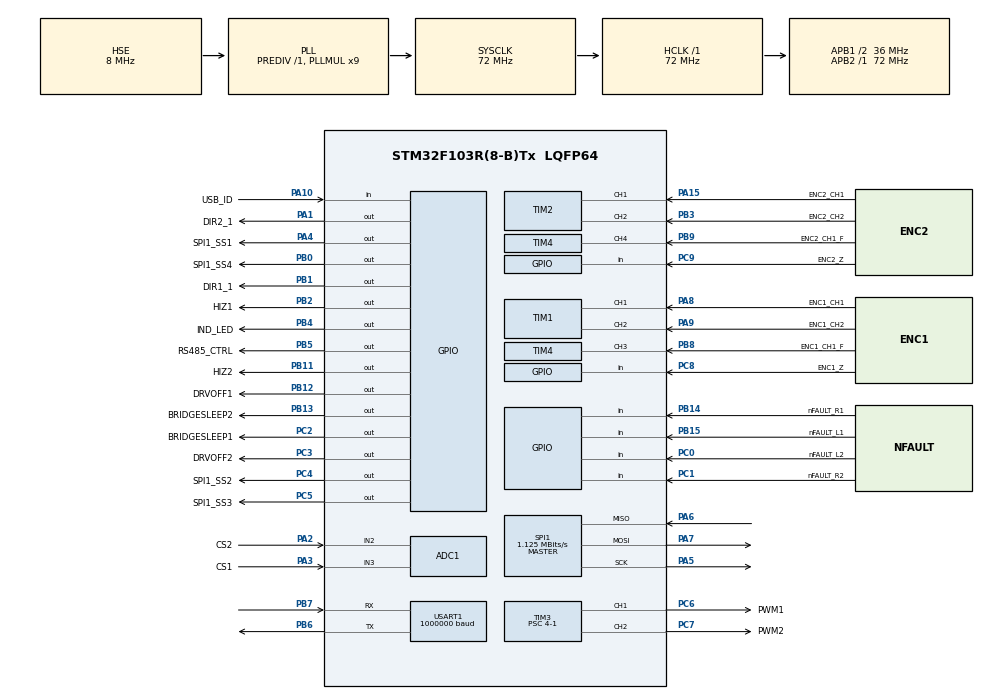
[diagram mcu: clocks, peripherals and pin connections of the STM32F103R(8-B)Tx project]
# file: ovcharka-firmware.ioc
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ADC1.Channel-0\#ChannelRegularConversion=ADC_CHANNEL_3
ADC1.Channel-1\#ChannelRegularConversion=ADC_CHANNEL_2
ADC1.ExternalTrigConv=ADC_EXTERNALTRIGCONV_T3_TRGO
ADC1.NbrOfConversion=2
ADC1.NbrOfConversionFlag=1
ADC1.Rank-0\#ChannelRegularConversion=1
ADC1.Rank-1\#ChannelRegularConversion=2
ADC1.SamplingTime-0\#ChannelRegularConversion=ADC_SAMPLETIME_239CYCLES_5
ADC1.SamplingTime-1\#ChannelRegularConversion=ADC_SAMPLETIME_239CYCLES_5
ADC1.master=1
Dma.ADC1.4.Direction=DMA_PERIPH_TO_MEMORY
Dma.ADC1.4.Instance=DMA1_Channel1
Dma.ADC1.4.MemDataAlignment=DMA_MDATAALIGN_HALFWORD
Dma.ADC1.4.MemInc=DMA_MINC_ENABLE
Dma.ADC1.4.Mode=DMA_CIRCULAR
Dma.ADC1.4.PeriphDataAlignment=DMA_PDATAALIGN_HALFWORD
Dma.ADC1.4.PeriphInc=DMA_PINC_DISABLE
Dma.ADC1.4.Priority=DMA_PRIORITY_MEDIUM
Dma.Request0=SPI1_RX
Dma.Request1=SPI1_TX
Dma.Request2=USART1_TX
Dma.Request3=USART1_RX
Dma.Request4=ADC1
Dma.SPI1_RX.0.Direction=DMA_PERIPH_TO_MEMORY
Dma.SPI1_RX.0.Instance=DMA1_Channel2
Dma.SPI1_RX.0.MemDataAlignment=DMA_MDATAALIGN_HALFWORD
Dma.SPI1_RX.0.MemInc=DMA_MINC_ENABLE
Dma.SPI1_RX.0.Mode=DMA_NORMAL
Dma.SPI1_RX.0.PeriphDataAlignment=DMA_PDATAALIGN_HALFWORD
Dma.SPI1_RX.0.PeriphInc=DMA_PINC_DISABLE
Dma.SPI1_RX.0.Priority=DMA_PRIORITY_MEDIUM
Dma.SPI1_TX.1.Direction=DMA_MEMORY_TO_PERIPH
Dma.SPI1_TX.1.Instance=DMA1_Channel3
Dma.SPI1_TX.1.MemDataAlignment=DMA_MDATAALIGN_HALFWORD
Dma.SPI1_TX.1.MemInc=DMA_MINC_ENABLE
Dma.SPI1_TX.1.Mode=DMA_NORMAL
Dma.SPI1_TX.1.PeriphDataAlignment=DMA_PDATAALIGN_HALFWORD
Dma.SPI1_TX.1.PeriphInc=DMA_PINC_DISABLE
Dma.SPI1_TX.1.Priority=DMA_PRIORITY_MEDIUM
Dma.USART1_RX.3.Direction=DMA_PERIPH_TO_MEMORY
Dma.USART1_RX.3.Instance=DMA1_Channel5
Dma.USART1_RX.3.MemDataAlignment=DMA_MDATAALIGN_BYTE
Dma.USART1_RX.3.MemInc=DMA_MINC_ENABLE
Dma.USART1_RX.3.Mode=DMA_NORMAL
Dma.USART1_RX.3.PeriphDataAlignment=DMA_PDATAALIGN_BYTE
Dma.USART1_RX.3.PeriphInc=DMA_PINC_DISABLE
Dma.USART1_RX.3.Priority=DMA_PRIORITY_HIGH
Dma.USART1_TX.2.Direction=DMA_MEMORY_TO_PERIPH
Dma.USART1_TX.2.Instance=DMA1_Channel4
Dma.USART1_TX.2.MemDataAlignment=DMA_MDATAALIGN_BYTE
Dma.USART1_TX.2.MemInc=DMA_MINC_ENABLE
Dma.USART1_TX.2.Mode=DMA_NORMAL
Dma.USART1_TX.2.PeriphDataAlignment=DMA_PDATAALIGN_BYTE
Dma.USART1_TX.2.PeriphInc=DMA_PINC_DISABLE
Dma.USART1_TX.2.Priority=DMA_PRIORITY_HIGH
Mcu.Family=STM32F1
Mcu.Name=STM32F103R(8-B)Tx
Mcu.Package=LQFP64
NVIC.DMA1_Channel1_IRQn=true\:0\:0\:false\:false\:true\:false\:true\:true
NVIC.DMA1_Channel2_IRQn=true\:0\:0\:false\:false\:true\:false\:true\:true
NVIC.DMA1_Channel3_IRQn=true\:0\:0\:false\:false\:true\:false\:true\:true
NVIC.DMA1_Channel4_IRQn=true\:0\:0\:false\:false\:true\:false\:true\:true
NVIC.DMA1_Channel5_IRQn=true\:0\:0\:false\:false\:true\:false\:true\:true
NVIC.PriorityGroup=NVIC_PRIORITYGROUP_4
NVIC.SPI1_IRQn=true\:3\:0\:true\:false\:true\:true\:true\:true
NVIC.TIM3_IRQn=true\:1\:0\:true\:false\:true\:true\:true\:true
NVIC.USART1_IRQn=true\:2\:0\:true\:false\:true\:true\:true\:true
PA1.GPIO_Label=DIR2_1
PA1.Signal=GPIO_Output
PA10.GPIO_Label=USB_ID
PA10.Signal=GPIO_Input
PA13.Mode=Serial_Wire
PA13.Signal=SYS_JTMS-SWDIO
PA14.Mode=Serial_Wire
PA14.Signal=SYS_JTCK-SWCLK
PA15.GPIO_Label=ENC2_CH1
PA15.Signal=S_TIM2_CH1_ETR
PA2.GPIO_Label=CS2
PA2.Signal=ADCx_IN2
PA3.GPIO_Label=CS1
PA3.Signal=ADCx_IN3
PA4.GPIO_Label=SPI1_SS1
PA4.GPIO_Speed=GPIO_SPEED_FREQ_HIGH
PA4.PinState=GPIO_PIN_RESET
PA4.Signal=GPIO_Output
PA5.Mode=Full_Duplex_Master
PA5.Signal=SPI1_SCK
PA6.Mode=Full_Duplex_Master
PA6.Signal=SPI1_MISO
PA7.Mode=Full_Duplex_Master
PA7.Signal=SPI1_MOSI
PA8.GPIO_Label=ENC1_CH1
PA8.Signal=S_TIM1_CH1
PA9.GPIO_Label=ENC1_CH2
PA9.Signal=S_TIM1_CH2
PB0.GPIO_Label=SPI1_SS4
PB0.GPIO_Speed=GPIO_SPEED_FREQ_HIGH
PB0.PinState=GPIO_PIN_RESET
PB0.Signal=GPIO_Output
PB1.GPIO_Label=DIR1_1
PB1.Signal=GPIO_Output
PB11.GPIO_Label=HIZ2
PB11.Signal=GPIO_Output
PB12.GPIO_Label=DRVOFF1
PB12.Signal=GPIO_Output
PB13.GPIO_Label=BRIDGESLEEP2
PB13.Signal=GPIO_Output
PB14.GPIO_Label=nFAULT_R1
PB14.Signal=GPIO_Input
PB15.GPIO_Label=nFAULT_L1
PB15.Signal=GPIO_Input
PB2.GPIO_Label=HIZ1
PB2.Signal=GPIO_Output
PB3.GPIO_Label=ENC2_CH2
PB3.Signal=S_TIM2_CH2
PB4.GPIO_Label=IND_LED
PB4.Signal=GPIO_Output
PB5.GPIO_Label=RS485_CTRL
PB5.GPIO_Speed=GPIO_SPEED_FREQ_HIGH
PB5.Signal=GPIO_Output
PB6.Mode=Asynchronous
PB6.Signal=USART1_TX
PB7.Mode=Asynchronous
PB7.Signal=USART1_RX
PB8.GPIO_Label=ENC1_CH1_F
PB8.Signal=S_TIM4_CH3
PB9.GPIO_Label=ENC2_CH1_F
PB9.Signal=S_TIM4_CH4
PC0.GPIO_Label=nFAULT_L2
PC0.Signal=GPIO_Input
PC1.GPIO_Label=nFAULT_R2
PC1.Signal=GPIO_Input
PC2.GPIO_Label=BRIDGESLEEP1
PC2.Signal=GPIO_Output
PC3.GPIO_Label=DRVOFF2
PC3.Signal=GPIO_Output
PC4.GPIO_Label=SPI1_SS2
PC4.GPIO_Speed=GPIO_SPEED_FREQ_HIGH
PC4.PinState=GPIO_PIN_RESET
PC4.Signal=GPIO_Output
PC5.GPIO_Label=SPI1_SS3
PC5.GPIO_Speed=GPIO_SPEED_FREQ_HIGH
PC5.PinState=GPIO_PIN_RESET
PC5.Signal=GPIO_Output
PC6.GPIO_Label=PWM1
PC6.Signal=S_TIM3_CH1
PC7.GPIO_Label=PWM2
PC7.Signal=S_TIM3_CH2
PC8.GPIO_Label=ENC1_Z
PC8.Signal=GPIO_Input
PC9.GPIO_Label=ENC2_Z
PC9.Signal=GPIO_Input
PD0-OSC_IN.Mode=HSE-External-Oscillator
PD0-OSC_IN.Signal=RCC_OSC_IN
PD1-OSC_OUT.Mode=HSE-External-Oscillator
PD1-OSC_OUT.Signal=RCC_OSC_OUT
ProjectManager.HeapSize=0x300
ProjectManager.StackSize=0x1000
ProjectManager.TargetToolchain=Makefile
RCC.ADCPresc=RCC_ADCPCLK2_DIV6
RCC.AHBFreq_Value=72000000
RCC.APB1CLKDivider=RCC_HCLK_DIV2
RCC.APB1Freq_Value=36000000
RCC.APB1TimFreq_Value=72000000
RCC.APB2Freq_Value=72000000
RCC.APB2TimFreq_Value=72000000
RCC.HCLKFreq_Value=72000000
RCC.PLLMUL=RCC_PLL_MUL9
RCC.PLLSourceVirtual=RCC_PLLSOURCE_HSE
RCC.SYSCLKFreq_VALUE=72000000
RCC.SYSCLKSource=RCC_SYSCLKSOURCE_PLLCLK
RCC.USBFreq_Value=48000000
RCC.USBPrescaler=RCC_USBCLKSOURCE_PLL_DIV1_5
RCC.VDD_VALUE=3.296
SH.ADCx_IN2.0=ADC1_IN2,IN2
SH.ADCx_IN3.0=ADC1_IN3,IN3
SH.S_TIM1_CH1.0=TIM1_CH1,Encoder_Interface
SH.S_TIM1_CH2.0=TIM1_CH2,Encoder_Interface
SH.S_TIM2_CH1_ETR.0=TIM2_CH1,Encoder_Interface
SH.S_TIM2_CH2.0=TIM2_CH2,Encoder_Interface
SH.S_TIM3_CH1.0=TIM3_CH1,PWM Generation1 CH1
SH.S_TIM3_CH2.0=TIM3_CH2,PWM Generation2 CH2
SH.S_TIM4_CH3.0=TIM4_CH3,Input_Capture3_from_TI3
SH.S_TIM4_CH4.0=TIM4_CH4,Input_Capture4_from_TI4
SPI1.BaudRatePrescaler=SPI_BAUDRATEPRESCALER_64
SPI1.CLKPhase=SPI_PHASE_2EDGE
SPI1.CLKPolarity=SPI_POLARITY_LOW
SPI1.CalculateBaudRate=1.125 MBits/s
SPI1.DataSize=SPI_DATASIZE_16BIT
SPI1.Direction=SPI_DIRECTION_2LINES
SPI1.Mode=SPI_MODE_MASTER
SPI1.VirtualType=VM_MASTER
TIM1.EncoderMode=TIM_ENCODERMODE_TI12
TIM1.IC1Filter=10
TIM1.IC2Filter=10
TIM2.EncoderMode=TIM_ENCODERMODE_TI12
TIM3.Channel-PWM\ Generation1\ CH1=TIM_CHANNEL_1
TIM3.Channel-PWM\ Generation2\ CH2=TIM_CHANNEL_2
TIM3.Period=1000-1
TIM3.Prescaler=4-1
TIM3.TIM_MasterOutputTrigger=TIM_TRGO_UPDATE
TIM4.Channel-Input_Capture3_from_TI3=TIM_CHANNEL_3
TIM4.Channel-Input_Capture4_from_TI4=TIM_CHANNEL_4
TIM4.ICFilter_CH3=15
TIM4.ICFilter_CH4=15
TIM4.Period=72-1
TIM4.Prescaler=1100-1
USART1.BaudRate=1000000
USART1.VirtualMode=VM_ASYNC
board=custom

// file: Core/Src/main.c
/* USER CODE BEGIN Header */
/**
  ******************************************************************************
  * @file           : main.c
  * @brief          : Main program body
  ******************************************************************************
  * @attention
  *
  * Copyright (c) 2025 STMicroelectronics.
  * All rights reserved.
  *
  * This software is licensed under terms that can be found in the LICENSE file
  * in the root directory of this software component.
  * If no LICENSE file comes with this software, it is provided AS-IS.
  *
  ******************************************************************************
  */
/* USER CODE END Header */
#include "main.h"
#include "adc.h"
#include "dma.h"
#include "spi.h"
#include "tim.h"
#include "usart.h"
#include "gpio.h"

/* USER CODE BEGIN Includes */
#include "drv8106.h"
#include "IQmathLib.h"
#include "main_init.h"
#include "ind_led.h"
/* USER CODE END Includes */

/* USER CODE BEGIN PV */

// uint16_t duty1, duty2, dir1, dir2;
_iq18 test_iq;
servo_iq18_t servo1_g, servo2_g;

/* USER CODE END PV */

void SystemClock_Config(void);

int main(void)
{

  /* MCU Configuration--------------------------------------------------------*/

  /* Reset of all peripherals, Initializes the Flash interface and the Systick. */
  HAL_Init();

  /* Configure the system clock */
  SystemClock_Config();

  /* Initialize all configured peripherals */
  MX_GPIO_Init();
  MX_DMA_Init();
  MX_ADC1_Init();
  MX_SPI1_Init();
  MX_TIM1_Init();
  MX_TIM2_Init();
  MX_TIM3_Init();
  MX_TIM4_Init();
  MX_USART1_UART_Init();
  /* USER CODE BEGIN 2 */

  TXOFF; // Turn off transceiver during init

  // Pull down all CS pins of drivers
  HAL_GPIO_WritePin(SPI1_SS1_GPIO_Port, SPI1_SS1_Pin, GPIO_PIN_SET);
  HAL_GPIO_WritePin(SPI1_SS2_GPIO_Port, SPI1_SS2_Pin, GPIO_PIN_SET);
  HAL_GPIO_WritePin(SPI1_SS3_GPIO_Port, SPI1_SS3_Pin, GPIO_PIN_SET);
  HAL_GPIO_WritePin(SPI1_SS4_GPIO_Port, SPI1_SS4_Pin, GPIO_PIN_SET);
  HAL_Delay(1);

  // Wake up drivers
  HAL_GPIO_WritePin(BRIDGESLEEP1_GPIO_Port, BRIDGESLEEP1_Pin, GPIO_PIN_SET);
  HAL_GPIO_WritePin(BRIDGESLEEP2_GPIO_Port, BRIDGESLEEP2_Pin, GPIO_PIN_SET);

  // Turn high nHIZ pins, allowing the driver to switch on pwm command
  HAL_GPIO_WritePin(HIZ1_GPIO_Port, HIZ1_Pin, GPIO_PIN_SET);
  HAL_GPIO_WritePin(HIZ2_GPIO_Port, HIZ2_Pin, GPIO_PIN_SET);
  HAL_Delay(1);

  // Write defaults to all bridges in case MCU was reset
  drv8106_reset_blocking(&drv_l1_dd6);
  drv8106_reset_blocking(&drv_r1_dd7);
  drv8106_reset_blocking(&drv_l2_dd8);
  drv8106_reset_blocking(&drv_r2_dd9);

  // Clear faults (since there is power-on-reset fault at start)
  drv8106_clear_fault_blocking(&drv_l1_dd6);
  drv8106_clear_fault_blocking(&drv_r1_dd7);
  drv8106_clear_fault_blocking(&drv_l2_dd8);
  drv8106_clear_fault_blocking(&drv_r2_dd9);

  // read all registers of a driver
  drv8106_read_all_blocking(&drv_l1_dd6);
  drv8106_read_all_blocking(&drv_r1_dd7);
  drv8106_read_all_blocking(&drv_l2_dd8);
  drv8106_read_all_blocking(&drv_r2_dd9);

  // Enable current sensor with gain 10
  drv8106_CSA_enable_g10_blocking(&drv_l1_dd6);
  drv8106_CSA_enable_g10_blocking(&drv_r1_dd7);
  drv8106_CSA_enable_g10_blocking(&drv_l2_dd8);
  drv8106_CSA_enable_g10_blocking(&drv_r2_dd9);

  // Enable bridge to autorecover from most faults
  drv8106_set_fault_autorecovery_blocking(&drv_l1_dd6);
  drv8106_set_fault_autorecovery_blocking(&drv_r1_dd7);
  drv8106_set_fault_autorecovery_blocking(&drv_l2_dd8);
  drv8106_set_fault_autorecovery_blocking(&drv_r2_dd9);

  // Enable drivers via SPI bit
  drv8106_Enable_blocking(&drv_l1_dd6);
  drv8106_Enable_blocking(&drv_r1_dd7);
  drv8106_Enable_blocking(&drv_l2_dd8);
  drv8106_Enable_blocking(&drv_r2_dd9);
  HAL_Delay(1);

  // Init led indication module
  ind_led_init(&ind_led_red, IND_LED_GPIO_Port, IND_LED_Pin, 250, 0);

  // Init stuff for motor control
  init_mtr_ctrl();

  /* USER CODE END 2 */

  /* Infinite loop */
  while (1)
  {

  }
}

void SystemClock_Config(void)
{
  RCC_OscInitTypeDef RCC_OscInitStruct = {0};
  RCC_ClkInitTypeDef RCC_ClkInitStruct = {0};
  RCC_PeriphCLKInitTypeDef PeriphClkInit = {0};

  /** Initializes the RCC Oscillators according to the specified parameters
  * in the RCC_OscInitTypeDef structure.
  */
  RCC_OscInitStruct.OscillatorType = RCC_OSCILLATORTYPE_HSE;
  RCC_OscInitStruct.HSEState = RCC_HSE_ON;
  RCC_OscInitStruct.HSEPredivValue = RCC_HSE_PREDIV_DIV1;
  RCC_OscInitStruct.HSIState = RCC_HSI_ON;
  RCC_OscInitStruct.PLL.PLLState = RCC_PLL_ON;
  RCC_OscInitStruct.PLL.PLLSource = RCC_PLLSOURCE_HSE;
  RCC_OscInitStruct.PLL.PLLMUL = RCC_PLL_MUL9;
  if (HAL_RCC_OscConfig(&RCC_OscInitStruct) != HAL_OK)
  {
    Error_Handler();
  }

  /** Initializes the CPU, AHB and APB buses clocks
  */
  RCC_ClkInitStruct.ClockType = RCC_CLOCKTYPE_HCLK|RCC_CLOCKTYPE_SYSCLK
                              |RCC_CLOCKTYPE_PCLK1|RCC_CLOCKTYPE_PCLK2;
  RCC_ClkInitStruct.SYSCLKSource = RCC_SYSCLKSOURCE_PLLCLK;
  RCC_ClkInitStruct.AHBCLKDivider = RCC_SYSCLK_DIV1;
  RCC_ClkInitStruct.APB1CLKDivider = RCC_HCLK_DIV2;
  RCC_ClkInitStruct.APB2CLKDivider = RCC_HCLK_DIV1;

  if (HAL_RCC_ClockConfig(&RCC_ClkInitStruct, FLASH_LATENCY_2) != HAL_OK)
  {
    Error_Handler();
  }
  PeriphClkInit.PeriphClockSelection = RCC_PERIPHCLK_ADC;
  PeriphClkInit.AdcClockSelection = RCC_ADCPCLK2_DIV6;
  if (HAL_RCCEx_PeriphCLKConfig(&PeriphClkInit) != HAL_OK)
  {
    Error_Handler();
  }
}

/* USER CODE BEGIN 4 */

// void HAL_TIM_PeriodElapsedCallback(TIM_HandleTypeDef *htim)
// {
//   if(htim == &htim3){
//     static uint16_t cntr = 0;
//     cntr++;
//     if (cntr >= 3600){
//       HAL_GPIO_TogglePin(IND_LED_GPIO_Port, IND_LED_Pin);
//       cntr = 0;
//     }

//     fault1 = HAL_GPIO_ReadPin(nFAULT_L1_GPIO_Port, nFAULT_L1_Pin);
//     fault2 = HAL_GPIO_ReadPin(nFAULT_R1_GPIO_Port, nFAULT_R1_Pin);
//     fault3 = HAL_GPIO_ReadPin(nFAULT_L2_GPIO_Port, nFAULT_L2_Pin);
//     fault4 = HAL_GPIO_ReadPin(nFAULT_R2_GPIO_Port, nFAULT_R2_Pin);

//     TIM3->CCR1 = duty1;
//     TIM3->CCR2 = duty2;
//     HAL_GPIO_WritePin(DIR1_1_GPIO_Port, DIR1_1_Pin, dir1);
//     HAL_GPIO_WritePin(DIR2_1_GPIO_Port, DIR2_1_Pin, dir2);

//   }

// }

/* USER CODE END 4 */

void Error_Handler(void)
{
  __disable_irq();
  while (1)
  {
  }
}
